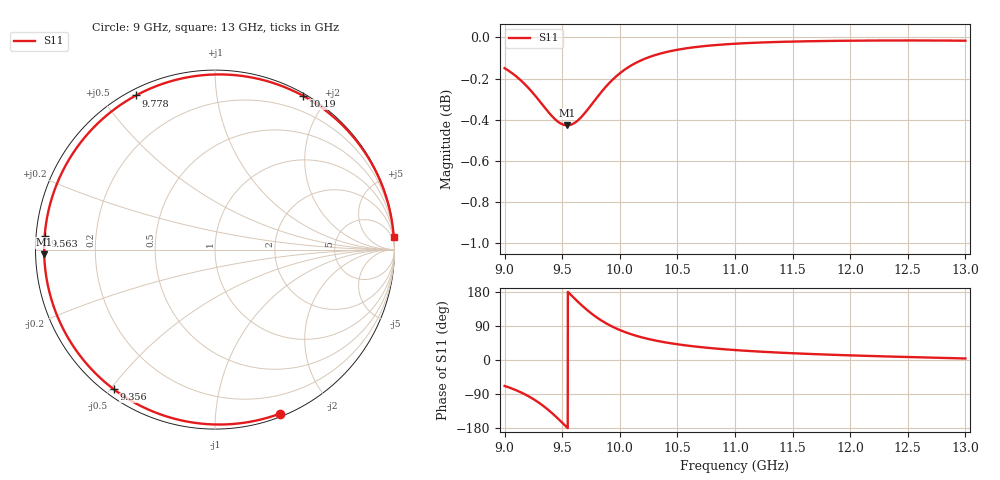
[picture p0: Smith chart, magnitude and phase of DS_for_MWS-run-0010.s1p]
! TOUCHSTONE file generated by CST DESIGN STUDIO
! Date and time: Tue Feb  4 14:09:40 2025
! Project name: C:\Work\MatlabApps\UnitCellOptimizationMatlab\CST\unitcell.cst
! Tree item: Tasks\Sweep1\SPara1\S-Parameters
! Header version: 2024
! Port assignment regex: !\s*Touchstone port\s*([0-9]+)\s*=\s*(CST MWS port|CST DES external port|CST DES block port)\s*(.+)\s* \(\"(.*)\"\)(\s*mode\s*([0-9]+))?.*
! Touchstone port assignment:
! Touchstone port 1 = CST DES external port 1 ("")
# GHz S MA R 50
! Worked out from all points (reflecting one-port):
!   4001 points, 9 GHz to 13 GHz, reference 50 ohm
!   lowest |S11| = -0.4 dB at 9.543 GHz (marker M1), VSWR 40.69, Z = 1.23 - j0.701 ohm
!   phase of S11 starts at -68 deg and turns -288 deg over the sweep
!   S11 on the Smith chart (normalised r, x): 9 GHz: 0.03, -1.47; 9.356 GHz: 0.03, -0.51; 9.563 GHz: 0.02, +0.04; 9.778 GHz: 0.02, +0.61; 10.19 GHz: 0.03, +1.73; 13 GHz: 1, +29
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9  0.983 -68.5
9.102  0.9784 -80.0
9.212  0.9718 -96.4
9.288  0.9662 -110.7
9.356  0.9609 -126.0
9.425  0.9561 -143.8
9.464  0.9539 -154.8
9.5  0.9526 -165.4
9.543  0.952 -178.4
9.563  0.9522 175.5
9.617  0.9537 159.3
9.677  0.9572 142.3
9.727  0.961 129.2
9.778  0.9651 117.2
9.825  0.9688 107.2
9.876  0.9726 97.7
9.933  0.9764 88.4
10  0.9801 79.1
10.089  0.9841 69.0
10.187  0.9874 60.1
10.33  0.9907 50.1
10.5  0.9932 41.5
10.721  0.9951 33.4
11  0.9965 26.2
11.5  0.9977 17.8
12  0.9982 12.2
12.5  0.9983 7.8
13  0.9982 4.0
